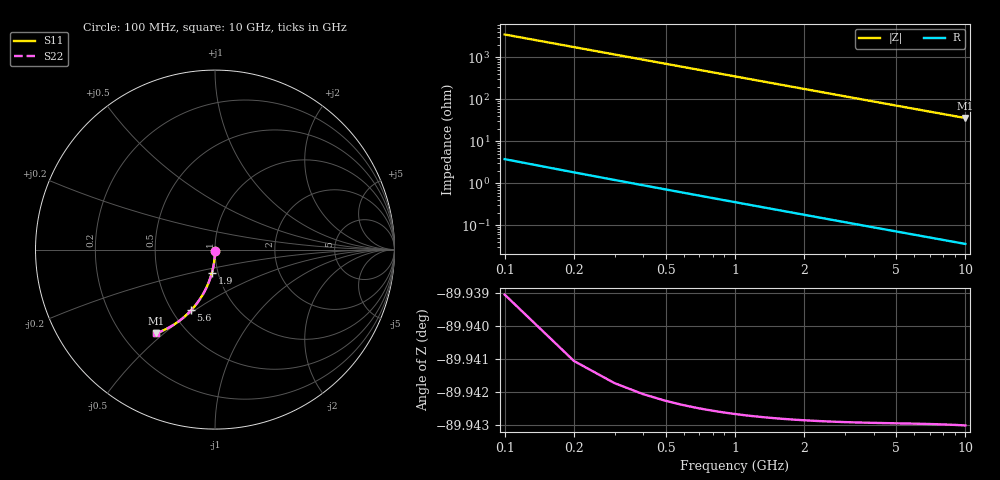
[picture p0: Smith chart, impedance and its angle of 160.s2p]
# Hz S RI R 50.00
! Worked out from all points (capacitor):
!   100 points, 100 MHz to 10 GHz, reference 50 ohm
!   read as one part in shunt: C = 450 fF near 100 MHz
!   lowest |Z| = 35.9 ohm at 10 GHz (marker M1)
!   S11 on the Smith chart (normalised r, x): 100 MHz: 1.00, -0.01; 1.9 GHz: 0.93, -0.25; 5.6 GHz: 0.62, -0.48; 10 GHz: 0.34, -0.47
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1e8  -5.36e-05 -0.00705  0.9999 -0.00709  0.9999 -0.00709  -5.36e-05 -0.00705
2e8  -0.00021 -0.0141  0.9998 -0.0142  0.9998 -0.0142  -0.00021 -0.0141
3e8  -0.000467 -0.0211  0.9995 -0.0213  0.9995 -0.0213  -0.000467 -0.0211
4e8  -0.000823 -0.0282  0.9992 -0.0283  0.9992 -0.0283  -0.000823 -0.0282
5e8  -0.00128 -0.0352  0.9987 -0.0354  0.9987 -0.0354  -0.00128 -0.0352
6e8  -0.00183 -0.0422  0.9982 -0.0424  0.9982 -0.0424  -0.00183 -0.0422
7e8  -0.00249 -0.0492  0.9975 -0.0495  0.9975 -0.0495  -0.00249 -0.0492
8e8  -0.00324 -0.0562  0.9968 -0.0565  0.9968 -0.0565  -0.00324 -0.0562
9e8  -0.00408 -0.0631  0.9959 -0.0635  0.9959 -0.0635  -0.00408 -0.0631
1.1e9  -0.00607 -0.077  0.9939 -0.0774  0.9939 -0.0774  -0.00607 -0.077
1.4e9  -0.00976 -0.0975  0.9902 -0.0981  0.9902 -0.0981  -0.00976 -0.0975
1.8e9  -0.016 -0.1245  0.984 -0.1253  0.984 -0.1253  -0.016 -0.1245
1.9e9  -0.0178 -0.1312  0.9822 -0.132  0.9822 -0.132  -0.0178 -0.1312
2.2e9  -0.0236 -0.1509  0.9764 -0.1519  0.9764 -0.1519  -0.0236 -0.1509
2.6e9  -0.0326 -0.1766  0.9674 -0.1777  0.9674 -0.1777  -0.0326 -0.1766
3.4e9  -0.0543 -0.2253  0.9457 -0.2268  0.9457 -0.2268  -0.0543 -0.2253
4.2e9  -0.0802 -0.2703  0.9197 -0.2721  0.9197 -0.2721  -0.0802 -0.2703
5.1e9  -0.1136 -0.3157  0.8864 -0.318  0.8864 -0.318  -0.1136 -0.3157
5.6e9  -0.1336 -0.3385  0.8664 -0.341  0.8664 -0.341  -0.1336 -0.3385
6.7e9  -0.1803 -0.3825  0.8197 -0.3854  0.8197 -0.3854  -0.1803 -0.3825
8.4e9  -0.256 -0.4341  0.744 -0.4378  0.744 -0.4378  -0.256 -0.4341
1e10  -0.327 -0.4664  0.673 -0.4709  0.673 -0.4709  -0.327 -0.4664
